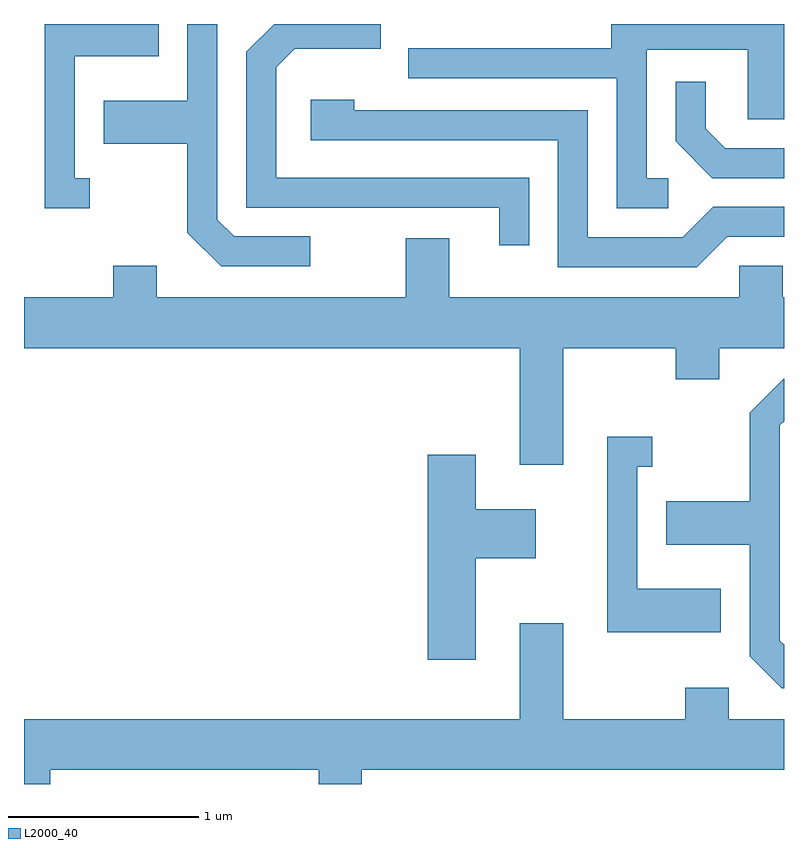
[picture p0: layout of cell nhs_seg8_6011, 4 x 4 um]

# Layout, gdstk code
import gdstk
lib = gdstk.Library(unit=1e-6, precision=1e-09)
def P(c, l, *ps):  # polygons
    for p in ps: c.add(gdstk.Polygon(p, *l))
L2000_40 = (2000, 40)

nhs_seg8_6011 = lib.new_cell('nhs_seg8_6011')
P(nhs_seg8_6011, L2000_40, [(368.269,1839.534),(366.939,1839.534),(366.939,1840.114),(367.037,1840.211),(367.489,1840.211),(367.489,1840.342),(366.927,1840.342),(366.781,1840.197),(366.781,1839.376),(368.111,1839.376),(368.111,1839.178),(368.269,1839.178)],
  [(369.003,1839.529),(368.889,1839.529),(368.889,1840.206),(369.421,1840.206),(369.421,1839.841),(369.611,1839.841),(369.611,1840.342),(368.701,1840.342),(368.701,1840.214),(367.633,1840.214),(367.633,1840.056),(368.731,1840.056),(368.731,1839.371),(369.003,1839.371)],
  [(367.118,1839.224),(366.717,1839.224),(366.629,1839.312),(366.629,1840.342),(366.471,1840.342),(366.471,1839.939),(366.031,1839.939),(366.031,1839.711),(366.471,1839.711),(366.471,1839.244),(366.649,1839.066),(367.118,1839.066)],
  [(365.958,1839.529),(365.879,1839.529),(365.879,1840.171),(366.319,1840.171),(366.319,1840.342),(365.721,1840.342),(365.721,1839.371),(365.958,1839.371)],
  [(369.611,1839.689),(369.302,1839.689),(369.199,1839.792),(369.199,1840.038),(369.041,1840.038),(369.041,1839.724),(369.234,1839.531),(369.611,1839.531)],
  [(369.312,1839.221),(369.611,1839.221),(369.611,1839.379),(369.239,1839.379),(369.079,1839.219),(368.579,1839.219),(368.579,1839.889),(367.349,1839.889),(367.349,1839.944),(367.121,1839.944),(367.121,1839.731),(368.421,1839.731),(368.421,1839.061),(369.152,1839.061)],
  [(368.449,1838.636),(369.041,1838.636),(369.041,1838.471),(369.269,1838.471),(369.269,1838.636),(369.611,1838.636),(369.611,1838.904),(369.604,1838.904),(369.604,1839.069),(369.376,1839.069),(369.376,1838.904),(367.849,1838.904),(367.849,1839.214),(367.621,1839.214),(367.621,1838.904),(366.309,1838.904),(366.309,1839.069),(366.081,1839.069),(366.081,1838.904),(365.611,1838.904),(365.611,1838.636),(368.221,1838.636),(368.221,1838.021),(368.449,1838.021)],
  [(369.611,1837.075),(369.589,1837.097),(369.589,1838.229),(369.611,1838.251),(369.611,1838.474),(369.609,1838.474),(369.431,1838.297),(369.431,1837.829),(368.991,1837.829),(368.991,1837.601),(369.431,1837.601),(369.431,1837.014),(369.599,1836.846),(369.611,1836.846)],
  [(369.279,1837.369),(368.839,1837.369),(368.839,1838.011),(368.918,1838.011),(368.918,1838.169),(368.681,1838.169),(368.681,1837.141),(369.279,1837.141)],
  [(367.989,1837.531),(368.304,1837.531),(368.304,1837.789),(367.989,1837.789),(367.989,1838.074),(367.736,1838.074),(367.736,1836.996),(367.989,1836.996)],
  [(365.749,1836.416),(367.161,1836.416),(367.161,1836.342),(367.389,1836.342),(367.389,1836.416),(369.611,1836.416),(369.611,1836.684),(369.319,1836.684),(369.319,1836.849),(369.091,1836.849),(369.091,1836.684),(368.449,1836.684),(368.449,1837.189),(368.221,1837.189),(368.221,1836.684),(365.611,1836.684),(365.611,1836.342),(365.749,1836.342)])

lib.write_gds('nhs_seg8_6011.gds')
